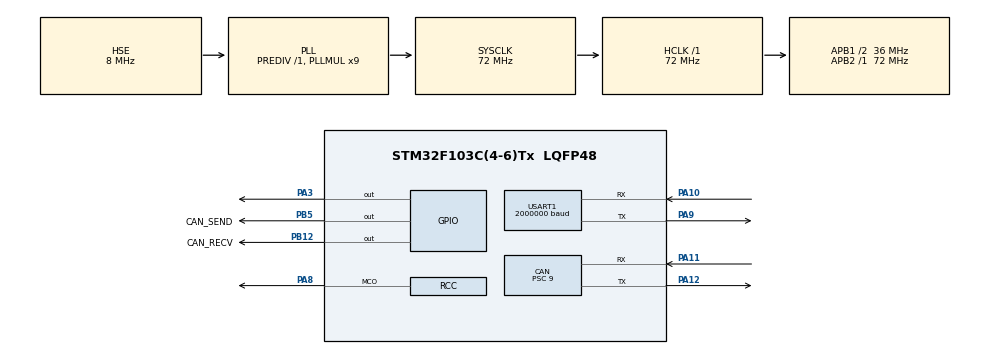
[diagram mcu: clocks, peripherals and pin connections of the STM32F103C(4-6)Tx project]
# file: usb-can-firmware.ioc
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CAN.BS1=CAN_BS1_3TQ
CAN.BS2=CAN_BS2_4TQ
CAN.CalculateBaudRate=500000
CAN.CalculateTimeBit=2000
CAN.CalculateTimeQuantum=250.0
CAN.Prescaler=9
Dma.Request0=USART1_RX
Dma.USART1_RX.0.Direction=DMA_PERIPH_TO_MEMORY
Dma.USART1_RX.0.Instance=DMA1_Channel5
Dma.USART1_RX.0.MemDataAlignment=DMA_MDATAALIGN_BYTE
Dma.USART1_RX.0.MemInc=DMA_MINC_ENABLE
Dma.USART1_RX.0.Mode=DMA_NORMAL
Dma.USART1_RX.0.PeriphDataAlignment=DMA_PDATAALIGN_BYTE
Dma.USART1_RX.0.PeriphInc=DMA_PINC_DISABLE
Dma.USART1_RX.0.Priority=DMA_PRIORITY_LOW
Mcu.Family=STM32F1
Mcu.Name=STM32F103C(4-6)Tx
Mcu.Package=LQFP48
NVIC.DMA1_Channel5_IRQn=true\:0\:0\:false\:false\:true\:false\:true\:true
NVIC.PriorityGroup=NVIC_PRIORITYGROUP_4
NVIC.TIM2_IRQn=true\:0\:0\:false\:false\:true\:true\:true\:true
NVIC.USART1_IRQn=true\:0\:0\:false\:false\:true\:true\:true\:true
NVIC.USB_LP_CAN1_RX0_IRQn=true\:0\:0\:false\:false\:true\:true\:true\:true
PA10.Mode=Asynchronous
PA10.Signal=USART1_RX
PA11.Mode=CAN_Activate
PA11.Signal=CAN_RX
PA12.Mode=CAN_Activate
PA12.Signal=CAN_TX
PA3.Signal=GPIO_Output
PA8.Mode=Clock-out
PA8.Signal=RCC_MCO
PA9.Mode=Asynchronous
PA9.Signal=USART1_TX
PB12.GPIO_Label=CAN_RECV
PB12.Signal=GPIO_Output
PB5.GPIO_Label=CAN_SEND
PB5.Signal=GPIO_Output
PD0-OSC_IN.Mode=HSE-External-Oscillator
PD0-OSC_IN.Signal=RCC_OSC_IN
PD1-OSC_OUT.Mode=HSE-External-Oscillator
PD1-OSC_OUT.Signal=RCC_OSC_OUT
ProjectManager.HeapSize=0x200
ProjectManager.StackSize=0x400
ProjectManager.TargetToolchain=Makefile
RCC.AHBFreq_Value=72000000
RCC.APB1CLKDivider=RCC_HCLK_DIV2
RCC.APB1Freq_Value=36000000
RCC.APB1TimFreq_Value=72000000
RCC.APB2Freq_Value=72000000
RCC.APB2TimFreq_Value=72000000
RCC.HCLKFreq_Value=72000000
RCC.PLLMUL=RCC_PLL_MUL9
RCC.PLLSourceVirtual=RCC_PLLSOURCE_HSE
RCC.RCC_MCOSource=RCC_MCO1SOURCE_PLLCLK
RCC.SYSCLKFreq_VALUE=72000000
RCC.SYSCLKSource=RCC_SYSCLKSOURCE_PLLCLK
RCC.USBFreq_Value=72000000
TIM2.AutoReloadPreload=TIM_AUTORELOAD_PRELOAD_ENABLE
TIM2.Period=7200
TIM2.Prescaler=250
USART1.BaudRate=2000000
USART1.VirtualMode=VM_ASYNC
VP_SYS_VS_ND.Mode=No_Debug
VP_TIM2_VS_ClockSourceINT.Mode=Internal
board=custom

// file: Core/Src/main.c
/* USER CODE BEGIN Header */
/**
  ******************************************************************************
  * @file           : main.c
  * @brief          : Main program body
  ******************************************************************************
  * @attention
  *
  * Copyright (c) 2022 STMicroelectronics.
  * All rights reserved.
  *
  * This software is licensed under terms that can be found in the LICENSE file
  * in the root directory of this software component.
  * If no LICENSE file comes with this software, it is provided AS-IS.
  *
  ******************************************************************************
  */
/* USER CODE END Header */
#include "main.h"

/* USER CODE BEGIN PTD */

typedef enum
{
	CAN_BUS_FRAME_NONE = 0x00,
	CANUSB_FRAME_STANDARD = 0x01,
	CANUSB_FRAME_EXTENDED = 0x02,
}
CANUSB_FRAME;

typedef enum
{
	CANUSB_CONFIG_TYPE_NORMAL = 0x02,
	CANUSB_CONFIG_TYPE_MANUAL = 0x03,
}
TYPE_SETTING_LOW_4b;

typedef enum
{
	NONE_FORMAT = 0x00,
	FIXED_FORMAT = 0x01,
	NORMAL_FORMAT = 0x02,
}
FRAME_FORMAT;

typedef enum
{
	CANUSB_SPEED_1000000 = 0x01,
	CANUSB_SPEED_800000  = 0x02,
	CANUSB_SPEED_500000  = 0x03,
	CANUSB_SPEED_400000  = 0x04,
	CANUSB_SPEED_250000  = 0x05,
	CANUSB_SPEED_200000  = 0x06,
	CANUSB_SPEED_125000  = 0x07,
	CANUSB_SPEED_100000  = 0x08,
	CANUSB_SPEED_50000   = 0x09,
	CANUSB_SPEED_20000   = 0x0a,
	CANUSB_SPEED_10000   = 0x0b,
	CANUSB_SPEED_5000    = 0x0c,
}
CANUSB_SPEED;

CANUSB_FRAME canTypeFrame = CAN_BUS_FRAME_NONE;
FRAME_FORMAT canFrameFormat = NONE_FORMAT;
volatile int countBlinkCanSedn = 0;
volatile int countBlinkCanRecv = 0;

#define BUFFER_SIZE 255
#define NUMBER_BLINK_LED_INDICATE 5

UART_HandleTypeDef huart1;
uint8_t receive_buff[255];                //Define the receive array
/* USER CODE END PTD */

CAN_HandleTypeDef hcan;

TIM_HandleTypeDef htim2;

UART_HandleTypeDef huart1;
DMA_HandleTypeDef hdma_usart1_rx;

void SystemClock_Config(void);
static void MX_GPIO_Init(void);
static void MX_DMA_Init(void);
static void MX_CAN_Init(void);
static void MX_USART1_UART_Init(void);
static void MX_TIM2_Init(void);
/* USER CODE BEGIN PFP */

int configureCanBus(uint8_t dataLen);

/* USER CODE END PFP */

/* USER CODE BEGIN 0 */
void USER_UART_IRQHandler(UART_HandleTypeDef *huart)
{
    if(USART1 == huart1.Instance)                                   //Determine whether it is serial port 1
    {
        if(RESET != __HAL_UART_GET_FLAG(&huart1, UART_FLAG_IDLE))   //Judging whether it is idle interruption
        {
            __HAL_UART_CLEAR_IDLEFLAG(&huart1);                     //Clear idle interrupt sign (otherwise it will continue to enter interrupt)
            USAR_UART_IDLECallback(huart);                          //Call interrupt handler
        }
    }
}

void USAR_UART_IDLECallback(UART_HandleTypeDef *huart)
{
	//Stop this DMA transmission
	HAL_UART_DMAStop(&huart1);

	//Calculate the length of the received data
	uint8_t data_length  = BUFFER_SIZE - __HAL_DMA_GET_COUNTER(huart->hdmarx);

	do
	{
		if(configureCanBus(data_length))
			break;

		uartToCanDataProcess(data_length);
		uartToCanDataFormatFix20B(data_length);
		countBlinkCanSedn = NUMBER_BLINK_LED_INDICATE;
	}
	while(0);

	//Zero Receiving Buffer
	memset(receive_buff,0,data_length);
	data_length = 0;

	//Restart to start DMA transmission of 255 bytes of data at a time
	HAL_UART_Receive_DMA(&huart1, (uint8_t*)receive_buff, 255);
}
static int generate_checksum(const unsigned char *data, int data_len)
{
  int i, checksum;

  checksum = 0;
  for (i = 0; i < data_len; i++) {
    checksum += data[i];
  }

  return checksum & 0xff;
}

int configureCanBus(uint8_t dataLen)
{
	TYPE_SETTING_LOW_4b typeSetting;

	if(dataLen < 19)
		return 0;

	if(receive_buff[0] != 0xAA || receive_buff[1] != 0x55)
		return 0;

	if((receive_buff[2] & 0xF0) == 0x10)
		canFrameFormat = NORMAL_FORMAT;
	else if((receive_buff[2] & 0xF0) == 0x00)
		canFrameFormat = FIXED_FORMAT;
	else
		return 0;

	typeSetting = receive_buff[2] & 0x0F;

	if(receive_buff[4] != CANUSB_FRAME_STANDARD && receive_buff[4] !=
		CANUSB_FRAME_EXTENDED)
		return 0;

	canTypeFrame = receive_buff[4];

	if(receive_buff[19] != generate_checksum(receive_buff + 2, 17))
		return 0;

	if(typeSetting == CANUSB_CONFIG_TYPE_NORMAL)
	{
		switch(receive_buff[3])
		{
			case CANUSB_SPEED_1000000:
				hcan.Init.Prescaler = 9;
				hcan.Init.TimeSeg1 = CAN_BS1_2TQ;
				hcan.Init.TimeSeg2 = CAN_BS2_1TQ;
				break;
			case CANUSB_SPEED_800000:
				hcan.Init.Prescaler = 9;
				hcan.Init.TimeSeg1 = CAN_BS1_3TQ;
				hcan.Init.TimeSeg2 = CAN_BS2_1TQ;
				break;
			case CANUSB_SPEED_500000:
				hcan.Init.Prescaler = 9;
				hcan.Init.TimeSeg1 = CAN_BS1_3TQ;
				hcan.Init.TimeSeg2 = CAN_BS2_4TQ;
				break;
			case CANUSB_SPEED_400000:
				hcan.Init.Prescaler = 9;
				hcan.Init.TimeSeg1 = CAN_BS1_3TQ;
				hcan.Init.TimeSeg2 = CAN_BS2_6TQ;
				break;
			case CANUSB_SPEED_250000:
				hcan.Init.Prescaler = 9;
				hcan.Init.TimeSeg1 = CAN_BS1_11TQ;
				hcan.Init.TimeSeg2 = CAN_BS2_4TQ;
				break;
			case CANUSB_SPEED_200000:
				hcan.Init.Prescaler = 9;
				hcan.Init.TimeSeg1 = CAN_BS1_15TQ;
				hcan.Init.TimeSeg2 = CAN_BS2_4TQ;
				break;
			case CANUSB_SPEED_125000:
				hcan.Init.Prescaler = 16;
				hcan.Init.TimeSeg1 = CAN_BS1_16TQ;
				hcan.Init.TimeSeg2 = CAN_BS2_1TQ;
				break;
			case CANUSB_SPEED_100000:
				hcan.Init.Prescaler = 15;
				hcan.Init.TimeSeg1 = CAN_BS1_16TQ;
				hcan.Init.TimeSeg2 = CAN_BS2_7TQ;
				break;
			case CANUSB_SPEED_50000:
				hcan.Init.Prescaler = 30;
				hcan.Init.TimeSeg1 = CAN_BS1_16TQ;
				hcan.Init.TimeSeg2 = CAN_BS2_7TQ;
				break;
			case CANUSB_SPEED_20000:
				hcan.Init.Prescaler = 72;
				hcan.Init.TimeSeg1 = CAN_BS1_16TQ;
				hcan.Init.TimeSeg2 = CAN_BS2_8TQ;
				break;
			case CANUSB_SPEED_10000:
				hcan.Init.Prescaler = 144;
				hcan.Init.TimeSeg1 = CAN_BS1_16TQ;
				hcan.Init.TimeSeg2 = CAN_BS2_8TQ;
				break;
			case CANUSB_SPEED_5000:
				hcan.Init.Prescaler = 288;
				hcan.Init.TimeSeg1 = CAN_BS1_16TQ;
				hcan.Init.TimeSeg2 = CAN_BS2_8TQ;
				break;
		}
	}
	else if(typeSetting == CANUSB_CONFIG_TYPE_MANUAL)
	{
		uint8_t seg1 = receive_buff[14];
		uint8_t seg2 = receive_buff[15];
		hcan.Init.TimeSeg1 = CAN_BS1_1TQ;
		hcan.Init.TimeSeg2 = CAN_BS2_1TQ;

		if(seg1 & 0x01)
			hcan.Init.TimeSeg1 |= CAN_BTR_TS1_0;

		if(seg1 & 0x02)
			hcan.Init.TimeSeg1 |= CAN_BTR_TS1_1;

		if(seg1 & 0x04)
			hcan.Init.TimeSeg1 |= CAN_BTR_TS1_2;

		if(seg1 & 0x08)
			hcan.Init.TimeSeg1 |= CAN_BTR_TS1_3;

		if(seg2 & 0x01)
			hcan.Init.TimeSeg2 |= CAN_BTR_TS2_0;

		if(seg2 & 0x02)
			hcan.Init.TimeSeg2 |= CAN_BTR_TS2_1;

		if(seg2 & 0x04)
			hcan.Init.TimeSeg2 |= CAN_BTR_TS2_2;

		hcan.Init.Prescaler = *((uint16_t*)(receive_buff + 16));
	}
	else
		return 0;

	if (HAL_CAN_Init(&hcan) != HAL_OK)
		Error_Handler();

	HAL_CAN_Start(&hcan);

	return 1;
}

void uartToCanDataFormatFix20B(uint8_t dataLen)
{
	uint8_t csend[8]; // Tx Buffer
	uint32_t canMailbox; //CAN Bus Mail box variable
	CAN_TxHeaderTypeDef txHeader; //CAN Bus Receive Header

	if(dataLen < 20)
		return;

	if(receive_buff[0] != 0xAA || receive_buff[1] != 0x55 ||
		receive_buff[2] != 0x01)
		return;

	if(receive_buff[3] != 0x01 && receive_buff[3] != 0x02)
		return;

	if(receive_buff[4] != 0x01 && receive_buff[4] != 0x02)
		return;

	uint8_t canDataLen = receive_buff[9];

	if(canDataLen > 8)
		return;

	if(receive_buff[19] != generate_checksum(receive_buff + 2, 17))
		return;

	txHeader.DLC = canDataLen;
	txHeader.RTR = CAN_RTR_DATA;
	txHeader.TransmitGlobalTime = DISABLE;

	if(receive_buff[3] == CANUSB_FRAME_EXTENDED)
	{
		txHeader.IDE = CAN_ID_EXT;
		txHeader.ExtId = *((uint32_t*)(receive_buff + 5));
	}
	else
	{
		txHeader.IDE = CAN_ID_STD;
		txHeader.StdId = *((uint16_t*)(receive_buff + 5));
	}

	memcpy(csend, receive_buff + 10, canDataLen);
	HAL_CAN_AddTxMessage(&hcan, &txHeader ,csend ,&canMailbox);
}

void uartToCanDataProcess(uint8_t dataLen)
{
	uint8_t csend[8]; // Tx Buffer
	uint32_t canMailbox; //CAN Bus Mail box variable
	CAN_TxHeaderTypeDef txHeader; //CAN Bus Receive Header

	if(receive_buff[0] != 0xAA)
		return;

	if((receive_buff[1] & 0xC0) != 0xC0)
		return;

	uint8_t canDataLen = receive_buff[1] & 0x0F;

	if(canDataLen > 8)
		return;

	txHeader.DLC = canDataLen;
	txHeader.RTR = CAN_RTR_DATA;
	txHeader.TransmitGlobalTime = DISABLE;

	if(receive_buff[1] & (1 << 5))
	{
		if(dataLen < canDataLen + 7)
			return;

		if(receive_buff[canDataLen + 6] != 0x55)
			return;

		txHeader.IDE = CAN_ID_EXT;
		txHeader.ExtId = *((uint32_t*)(receive_buff + 2));
		memcpy(csend, receive_buff + 6, canDataLen);
	}
	else
	{
		if(dataLen < canDataLen + 5)
			return;

		if(receive_buff[canDataLen + 4] != 0x55)
			return;

		txHeader.IDE = CAN_ID_STD;
		txHeader.StdId = *((uint16_t*)(receive_buff + 2));
		memcpy(csend, receive_buff + 4, canDataLen);
	}

	HAL_CAN_AddTxMessage(&hcan, &txHeader ,csend ,&canMailbox);
}

void canToUartNormalFormat(CAN_HandleTypeDef *hcan)
{
	CAN_RxHeaderTypeDef rxHeader; //CAN Bus Transmit Header
	uint8_t canRX[8];  //CAN Bus Receive Buffer
	HAL_CAN_GetRxMessage(hcan, CAN_RX_FIFO0, &rxHeader, canRX); //Receive CAN bus message to canRX buffer
	uint8_t transmitBuffer[20];
	int posBuffer = 0;
	transmitBuffer[posBuffer++] = 0xAA;
	transmitBuffer[posBuffer++] = 0xC0 + rxHeader.DLC +
			(CAN_ID_EXT == rxHeader.IDE ? 1 << 5 : 0);

	if(rxHeader.IDE == CAN_ID_STD)
	{
		*((uint16_t*)(transmitBuffer + posBuffer)) = rxHeader.StdId;
		posBuffer += 2;
	}
	else
	{
		*((uint32_t*)(transmitBuffer + posBuffer)) = rxHeader.ExtId;
		posBuffer += 4;
	}

	memcpy(transmitBuffer + posBuffer, canRX, rxHeader.DLC);
	posBuffer += rxHeader.DLC;
	transmitBuffer[posBuffer++] = 0x55;

	HAL_UART_Transmit_IT(&huart1, transmitBuffer, posBuffer);
}

void canToUartFixed20Format(CAN_HandleTypeDef *hcan)
{
	CAN_RxHeaderTypeDef rxHeader; //CAN Bus Transmit Header
	uint8_t canRX[8];  //CAN Bus Receive Buffer
	HAL_CAN_GetRxMessage(hcan, CAN_RX_FIFO0, &rxHeader, canRX); //Receive CAN bus message to canRX buffer

	uint8_t transmitBuffer[20];
	int posBuffer = 0;

	transmitBuffer[posBuffer++] = 0xAA;
	transmitBuffer[posBuffer++] = 0x55;
	transmitBuffer[posBuffer++] = 0x01;
	transmitBuffer[posBuffer++] = CAN_ID_EXT == rxHeader.IDE ? 0x02 : 0x01;
	transmitBuffer[posBuffer++] = 0x01;

	memset(transmitBuffer+ posBuffer, 0 , 4);

	if(rxHeader.IDE == CAN_ID_STD)
		*((uint16_t*)(transmitBuffer + posBuffer)) = rxHeader.StdId;
	else
		*((uint32_t*)(transmitBuffer + posBuffer)) = rxHeader.ExtId;

	posBuffer += 4;
	transmitBuffer[posBuffer++] = rxHeader.DLC;

	memset(transmitBuffer+ posBuffer, 0 , 8);
	memcpy(transmitBuffer + posBuffer, canRX, rxHeader.DLC);
	posBuffer +=8;
	transmitBuffer[posBuffer++] = 0;
	transmitBuffer[posBuffer++] = generate_checksum(transmitBuffer + 2, 17);

	HAL_UART_Transmit_IT(&huart1, transmitBuffer, posBuffer);
}

__weak void HAL_CAN_RxFifo0MsgPendingCallback(CAN_HandleTypeDef *hcan)
{
  /* Prevent unused argument(s) compilation warning */
  UNUSED(hcan);

  /* NOTE : This function Should not be modified, when the callback is needed,
            the HAL_CAN_RxFifo0MsgPendingCallback could be implemented in the
            user file
   */
	if(canFrameFormat == NORMAL_FORMAT)
		canToUartNormalFormat(hcan);
	else if(canFrameFormat == FIXED_FORMAT)
		canToUartFixed20Format(hcan);
	else
		return;

	countBlinkCanRecv = NUMBER_BLINK_LED_INDICATE;
}

void HAL_TIM_PeriodElapsedCallback(TIM_HandleTypeDef* htim)
{
	if(countBlinkCanSedn && --countBlinkCanSedn)
		HAL_GPIO_TogglePin(CAN_SEND_GPIO_Port,CAN_SEND_Pin);
	else
		HAL_GPIO_WritePin(CAN_SEND_GPIO_Port,CAN_SEND_Pin, GPIO_PIN_SET);

	if(countBlinkCanRecv && --countBlinkCanRecv)
		HAL_GPIO_TogglePin(CAN_RECV_GPIO_Port,CAN_RECV_Pin);
	else
		HAL_GPIO_WritePin(CAN_RECV_GPIO_Port,CAN_RECV_Pin, GPIO_PIN_SET);
}

/* USER CODE END 0 */

int main(void)
{
  /* USER CODE BEGIN 1 */
	CAN_FilterTypeDef canfil; //CAN Bus Filter
	uint32_t canMailbox; //CAN Bus Mail box variable

	canfil.FilterBank = 0;
	canfil.FilterMode = CAN_FILTERMODE_IDMASK;
	canfil.FilterFIFOAssignment = CAN_RX_FIFO0;
	canfil.FilterIdHigh = 0;
	canfil.FilterIdLow = 0;
	canfil.FilterMaskIdHigh = 0;
	canfil.FilterMaskIdLow = 0;
	canfil.FilterScale = CAN_FILTERSCALE_32BIT;
	canfil.FilterActivation = ENABLE;
	canfil.SlaveStartFilterBank = 14;
  /* USER CODE END 1 */

  /* MCU Configuration--------------------------------------------------------*/

  /* Reset of all peripherals, Initializes the Flash interface and the Systick. */
  HAL_Init();

  /* Configure the system clock */
  SystemClock_Config();

  /* Initialize all configured peripherals */
  MX_GPIO_Init();
  MX_DMA_Init();
  MX_CAN_Init();
  MX_USART1_UART_Init();
  MX_TIM2_Init();
  /* USER CODE BEGIN 2 */

//     HAL_UART_Transmit_IT(&huart1, (uint8_t *)aTxStartMessage, sizeof(aTxStartMessage));
//     HAL_UART_Receive_IT(&huart1, (uint8_t *)aRxBuffer, 10);
//     HAL_UART_Receive_IT(&huart1, (uint8_t *)receive_buff, 255);
  HAL_TIM_Base_Start_IT(&htim2);
  HAL_CAN_ConfigFilter(&hcan,&canfil); //Initialize CAN Filter
  HAL_CAN_Start(&hcan); //Initialize CAN Bus
  HAL_CAN_ActivateNotification(&hcan,CAN_IT_RX_FIFO0_MSG_PENDING);// Initialize CAN Bus Rx Interrupt
	__HAL_UART_ENABLE_IT(&huart1, UART_IT_IDLE);
	HAL_UART_Receive_DMA(&huart1, (uint8_t*)receive_buff, 255);     //Set up the DMA
  /* USER CODE END 2 */

  /* Infinite loop */
  /* USER CODE BEGIN WHILE */
  HAL_GPIO_WritePin(CAN_SEND_GPIO_Port,CAN_SEND_Pin, GPIO_PIN_SET);
  HAL_GPIO_WritePin(CAN_RECV_GPIO_Port,CAN_RECV_Pin, GPIO_PIN_SET);

  while (1)
  {
  }
    /* USER CODE END WHILE */

}

void SystemClock_Config(void)
{
  RCC_OscInitTypeDef RCC_OscInitStruct = {0};
  RCC_ClkInitTypeDef RCC_ClkInitStruct = {0};

  /** Initializes the RCC Oscillators according to the specified parameters
  * in the RCC_OscInitTypeDef structure.
  */
  RCC_OscInitStruct.OscillatorType = RCC_OSCILLATORTYPE_HSE;
  RCC_OscInitStruct.HSEState = RCC_HSE_ON;
  RCC_OscInitStruct.HSEPredivValue = RCC_HSE_PREDIV_DIV1;
  RCC_OscInitStruct.HSIState = RCC_HSI_ON;
  RCC_OscInitStruct.PLL.PLLState = RCC_PLL_ON;
  RCC_OscInitStruct.PLL.PLLSource = RCC_PLLSOURCE_HSE;
  RCC_OscInitStruct.PLL.PLLMUL = RCC_PLL_MUL9;
  if (HAL_RCC_OscConfig(&RCC_OscInitStruct) != HAL_OK)
  {
    Error_Handler();
  }

  /** Initializes the CPU, AHB and APB buses clocks
  */
  RCC_ClkInitStruct.ClockType = RCC_CLOCKTYPE_HCLK|RCC_CLOCKTYPE_SYSCLK
                              |RCC_CLOCKTYPE_PCLK1|RCC_CLOCKTYPE_PCLK2;
  RCC_ClkInitStruct.SYSCLKSource = RCC_SYSCLKSOURCE_PLLCLK;
  RCC_ClkInitStruct.AHBCLKDivider = RCC_SYSCLK_DIV1;
  RCC_ClkInitStruct.APB1CLKDivider = RCC_HCLK_DIV2;
  RCC_ClkInitStruct.APB2CLKDivider = RCC_HCLK_DIV1;

  if (HAL_RCC_ClockConfig(&RCC_ClkInitStruct, FLASH_LATENCY_2) != HAL_OK)
  {
    Error_Handler();
  }
  HAL_RCC_MCOConfig(RCC_MCO, RCC_MCO1SOURCE_PLLCLK, RCC_MCODIV_1);
}

static void MX_CAN_Init(void)
{

  hcan.Instance = CAN1;
  hcan.Init.Prescaler = 9;
  hcan.Init.Mode = CAN_MODE_NORMAL;
  hcan.Init.SyncJumpWidth = CAN_SJW_1TQ;
  hcan.Init.TimeSeg1 = CAN_BS1_3TQ;
  hcan.Init.TimeSeg2 = CAN_BS2_4TQ;
  hcan.Init.TimeTriggeredMode = DISABLE;
  hcan.Init.AutoBusOff = DISABLE;
  hcan.Init.AutoWakeUp = DISABLE;
  hcan.Init.AutoRetransmission = DISABLE;
  hcan.Init.ReceiveFifoLocked = DISABLE;
  hcan.Init.TransmitFifoPriority = DISABLE;
  if (HAL_CAN_Init(&hcan) != HAL_OK)
  {
    Error_Handler();
  }

}

static void MX_TIM2_Init(void)
{

  TIM_ClockConfigTypeDef sClockSourceConfig = {0};
  TIM_MasterConfigTypeDef sMasterConfig = {0};

  htim2.Instance = TIM2;
  htim2.Init.Prescaler = 250;
  htim2.Init.CounterMode = TIM_COUNTERMODE_UP;
  htim2.Init.Period = 7200;
  htim2.Init.ClockDivision = TIM_CLOCKDIVISION_DIV1;
  htim2.Init.AutoReloadPreload = TIM_AUTORELOAD_PRELOAD_ENABLE;
  if (HAL_TIM_Base_Init(&htim2) != HAL_OK)
  {
    Error_Handler();
  }
  sClockSourceConfig.ClockSource = TIM_CLOCKSOURCE_INTERNAL;
  if (HAL_TIM_ConfigClockSource(&htim2, &sClockSourceConfig) != HAL_OK)
  {
    Error_Handler();
  }
  sMasterConfig.MasterOutputTrigger = TIM_TRGO_RESET;
  sMasterConfig.MasterSlaveMode = TIM_MASTERSLAVEMODE_DISABLE;
  if (HAL_TIMEx_MasterConfigSynchronization(&htim2, &sMasterConfig) != HAL_OK)
  {
    Error_Handler();
  }

}

static void MX_USART1_UART_Init(void)
{

  huart1.Instance = USART1;
  huart1.Init.BaudRate = 2000000;
  huart1.Init.WordLength = UART_WORDLENGTH_8B;
  huart1.Init.StopBits = UART_STOPBITS_1;
  huart1.Init.Parity = UART_PARITY_NONE;
  huart1.Init.Mode = UART_MODE_TX_RX;
  huart1.Init.HwFlowCtl = UART_HWCONTROL_NONE;
  huart1.Init.OverSampling = UART_OVERSAMPLING_16;
  if (HAL_UART_Init(&huart1) != HAL_OK)
  {
    Error_Handler();
  }

}

static void MX_DMA_Init(void)
{

  /* DMA controller clock enable */
  __HAL_RCC_DMA1_CLK_ENABLE();

  /* DMA interrupt init */
  /* DMA1_Channel5_IRQn interrupt configuration */
  HAL_NVIC_SetPriority(DMA1_Channel5_IRQn, 0, 0);
  HAL_NVIC_EnableIRQ(DMA1_Channel5_IRQn);

}

static void MX_GPIO_Init(void)
{
  GPIO_InitTypeDef GPIO_InitStruct = {0};

  /* GPIO Ports Clock Enable */
  __HAL_RCC_GPIOD_CLK_ENABLE();
  __HAL_RCC_GPIOA_CLK_ENABLE();
  __HAL_RCC_GPIOB_CLK_ENABLE();

  /*Configure GPIO pin Output Level */
  HAL_GPIO_WritePin(GPIOA, GPIO_PIN_3, GPIO_PIN_RESET);

  /*Configure GPIO pin Output Level */
  HAL_GPIO_WritePin(GPIOB, CAN_RECV_Pin|CAN_SEND_Pin, GPIO_PIN_RESET);

  /*Configure GPIO pin : PA3 */
  GPIO_InitStruct.Pin = GPIO_PIN_3;
  GPIO_InitStruct.Mode = GPIO_MODE_OUTPUT_PP;
  GPIO_InitStruct.Pull = GPIO_NOPULL;
  GPIO_InitStruct.Speed = GPIO_SPEED_FREQ_LOW;
  HAL_GPIO_Init(GPIOA, &GPIO_InitStruct);

  /*Configure GPIO pins : CAN_RECV_Pin CAN_SEND_Pin */
  GPIO_InitStruct.Pin = CAN_RECV_Pin|CAN_SEND_Pin;
  GPIO_InitStruct.Mode = GPIO_MODE_OUTPUT_PP;
  GPIO_InitStruct.Pull = GPIO_NOPULL;
  GPIO_InitStruct.Speed = GPIO_SPEED_FREQ_LOW;
  HAL_GPIO_Init(GPIOB, &GPIO_InitStruct);

  /*Configure GPIO pin : PA8 */
  GPIO_InitStruct.Pin = GPIO_PIN_8;
  GPIO_InitStruct.Mode = GPIO_MODE_AF_PP;
  GPIO_InitStruct.Speed = GPIO_SPEED_FREQ_LOW;
  HAL_GPIO_Init(GPIOA, &GPIO_InitStruct);

}

void Error_Handler(void)
{
  __disable_irq();
  while (1)
  {
  }
}
